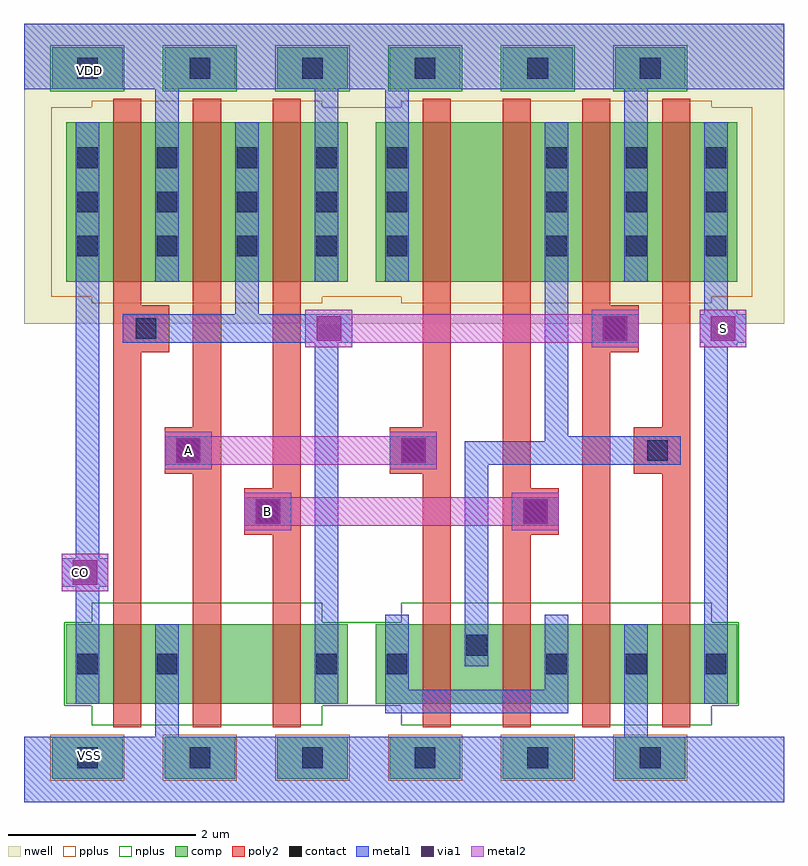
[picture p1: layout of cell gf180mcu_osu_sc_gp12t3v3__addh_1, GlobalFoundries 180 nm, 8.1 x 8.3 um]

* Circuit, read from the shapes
.subckt gf180mcu_osu_sc_gp12t3v3__addh_1 A B CO S VDD VSS
XM1 VSS n1 CO VSS nfet_03v3 w=0.85u l=0.3u
XM2 n2 A VSS VSS nfet_03v3 w=0.85u l=0.3u
XM3 n1 B n2 VSS nfet_03v3 w=0.85u l=0.3u
XM4 n3 A n4 VSS nfet_03v3 w=0.85u l=0.3u
XM5 n4 B n3 VSS nfet_03v3 w=0.85u l=0.3u
XM6 VSS n1 n4 VSS nfet_03v3 w=0.85u l=0.3u
XM7 S n3 VSS VSS nfet_03v3 w=0.85u l=0.3u
XM8 VDD n1 CO VDD pfet_03v3 w=1.7u l=0.3u
XM9 n1 A VDD VDD pfet_03v3 w=1.7u l=0.3u
XM10 VDD B n1 VDD pfet_03v3 w=1.7u l=0.3u
XM11 n5 A VDD VDD pfet_03v3 w=1.7u l=0.3u
XM12 n3 B n5 VDD pfet_03v3 w=1.7u l=0.3u
XM13 VDD n1 n3 VDD pfet_03v3 w=1.7u l=0.3u
XM14 S n3 VDD VDD pfet_03v3 w=1.7u l=0.3u
.ends

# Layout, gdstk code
import gdstk
lib = gdstk.Library(unit=1e-6, precision=1e-09)
def R(c, l, rs):  # rectangles x0, y0, x1, y1
    for r in rs: c.add(gdstk.rectangle(r[:2], r[2:], *l))
def A(c, l, x, y, w, h, nx, ny, dx, dy):  # array of equal rectangles
    R(c, l, [(x+i*dx, y+j*dy, x+i*dx+w, y+j*dy+h) for i in range(nx) for j in range(ny)])
nwell = (21, 0)
comp = (22, 0)
poly2 = (30, 0)
pplus = (31, 0)
nplus = (32, 0)
contact = (33, 0)
metal1 = (34, 0)
via1 = (35, 0)
metal2 = (36, 0)

gf180mcu_osu_sc_gp12t3v3 = lib.new_cell('gf180mcu_osu_sc_gp12t3v3__addh_1')
R(gf180mcu_osu_sc_gp12t3v3, nwell, [(0,5.1,8.1,8.3)])
A(gf180mcu_osu_sc_gp12t3v3, comp, 0.3, 0.25, 0.75, 0.45, 6, 2, 1.2, 7.35)
R(gf180mcu_osu_sc_gp12t3v3, comp, [(0.45,1.05,3.45,1.9), (3.75,1.05,7.6,1.9), (0.45,5.55,3.45,7.25), (3.75,5.55,7.6,7.25)])
R(gf180mcu_osu_sc_gp12t3v3, poly2, [(0.95,0.8,1.25,4.8), (1.8,0.8,2.1,3.5), (2.65,0.8,2.95,2.85), (4.25,0.8,4.55,3.5), (5.1,0.8,5.4,2.85), (5.95,0.8,6.25,4.8), (6.8,0.8,7.1,3.5), (2.35,2.85,2.95,3.35), (5.1,2.85,5.7,3.35), (2.65,3.35,2.95,7.5), (5.1,3.35,5.4,7.5), (1.5,3.5,2.1,4), (3.9,3.5,4.55,4), (6.5,3.5,7.1,4), (1.8,4,2.1,7.5), (4.25,4,4.55,7.5), (6.8,4,7.1,7.5), (0.95,4.8,1.55,5.3), (5.95,4.8,6.55,5.3), (0.95,5.3,1.25,7.5), (5.95,5.3,6.25,7.5)])
A(gf180mcu_osu_sc_gp12t3v3, pplus, 0.28, 0.23, 0.79, 0.49, 6, 1, 1.2, 0)
R(gf180mcu_osu_sc_gp12t3v3, pplus, [(0.72,5.32,3.18,5.39), (4.02,5.32,7.33,5.39), (0.29,5.39,7.76,7.41), (0.72,7.41,3.18,7.48), (4.02,7.41,7.33,7.48)])
A(gf180mcu_osu_sc_gp12t3v3, nplus, 0.28, 7.58, 0.79, 0.49, 6, 1, 1.2, 0)
R(gf180mcu_osu_sc_gp12t3v3, nplus, [(0.72,0.82,3.18,1.03), (4.02,0.82,7.33,1.03), (0.43,1.03,7.62,1.92), (0.72,1.92,3.18,2.13), (4.02,1.92,7.33,2.13)])
A(gf180mcu_osu_sc_gp12t3v3, contact, 0.565, 0.365, 0.22, 0.22, 6, 2, 1.2, 7.35)
A(gf180mcu_osu_sc_gp12t3v3, contact, 5.565, 1.365, 0.22, 0.22, 3, 2, 0.85, 4.455)
A(gf180mcu_osu_sc_gp12t3v3, contact, 0.565, 5.82, 0.22, 0.22, 4, 3, 0.85, 0.47)
A(gf180mcu_osu_sc_gp12t3v3, contact, 3.865, 5.82, 0.22, 0.22, 1, 3, 0, 0.47)
A(gf180mcu_osu_sc_gp12t3v3, contact, 5.565, 6.29, 0.22, 0.22, 3, 2, 0.85, 0.47)
R(gf180mcu_osu_sc_gp12t3v3, contact, [(0.565,1.365,0.785,1.585), (1.415,1.365,1.635,1.585), (3.115,1.365,3.335,1.585), (3.865,1.365,4.085,1.585), (4.715,1.565,4.935,1.785), (2.49,2.99,2.71,3.21), (5.34,2.99,5.56,3.21), (1.64,3.64,1.86,3.86), (4.04,3.64,4.26,3.86), (6.64,3.64,6.86,3.86), (1.19,4.94,1.41,5.16), (6.19,4.94,6.41,5.16)])
R(gf180mcu_osu_sc_gp12t3v3, metal1, [(0,0,8.1,0.7), (1.4,0.7,1.65,1.9), (6.4,0.7,6.65,1.9), (3.85,0.95,5.8,1.2), (0.55,1.05,0.8,2.3), (3.1,1.05,3.35,4.9), (7.25,1.05,7.5,4.85), (3.85,1.2,4.1,2), (5.55,1.2,5.8,2), (4.7,1.45,4.95,3.6), (0.4,2.3,0.9,2.6), (0.55,2.6,0.8,7.25), (2.35,2.95,2.85,3.25), (5.2,2.95,5.7,3.25), (1.5,3.6,2,3.9), (3.9,3.6,4.4,3.9), (4.7,3.6,7,3.85), (5.55,3.85,7,3.9), (5.55,3.9,5.8,7.25), (7.25,4.85,7.6,4.9), (1.05,4.9,3.5,5.2), (6.05,4.9,6.55,5.2), (7.2,4.9,7.7,5.2), (2.25,5.2,2.5,7.25), (7.25,5.2,7.6,5.25), (7.25,5.25,7.5,7.25), (1.4,5.55,1.65,7.6), (3.1,5.55,3.35,7.6), (3.85,5.55,4.1,7.6), (6.4,5.55,6.65,7.6), (0,7.6,8.1,8.3)])
R(gf180mcu_osu_sc_gp12t3v3, via1, [(0.52,2.32,0.78,2.58), (2.47,2.97,2.73,3.23), (5.32,2.97,5.58,3.23), (1.62,3.62,1.88,3.88), (4.02,3.62,4.28,3.88), (3.12,4.92,3.38,5.18), (6.17,4.92,6.43,5.18), (7.32,4.92,7.58,5.18)])
R(gf180mcu_osu_sc_gp12t3v3, metal2, [(0.4,2.25,0.9,2.65), (2.35,2.9,2.85,2.95), (5.2,2.9,5.7,2.95), (2.35,2.95,5.7,3.25), (2.35,3.25,2.85,3.3), (5.2,3.25,5.7,3.3), (1.5,3.55,2,3.6), (3.9,3.55,4.4,3.6), (1.5,3.6,4.4,3.9), (1.5,3.9,2,3.95), (3.9,3.9,4.4,3.95), (3,4.85,3.5,4.9), (6.05,4.85,6.55,4.9), (7.2,4.85,7.7,5.25), (3,4.9,6.55,5.2), (3,5.2,3.5,5.25), (6.05,5.2,6.55,5.25)])
gf180mcu_osu_sc_gp12t3v3.add(gdstk.Label('A', (1.75,3.75), layer=36, texttype=10))
gf180mcu_osu_sc_gp12t3v3.add(gdstk.Label('B', (2.6,3.1), layer=36, texttype=10))
gf180mcu_osu_sc_gp12t3v3.add(gdstk.Label('S', (7.45,5.05), layer=36, texttype=10))
gf180mcu_osu_sc_gp12t3v3.add(gdstk.Label('CO', (0.6,2.45), layer=36, texttype=10))
gf180mcu_osu_sc_gp12t3v3.add(gdstk.Label('VDD', (0.7,7.8), layer=34, texttype=10))
gf180mcu_osu_sc_gp12t3v3.add(gdstk.Label('VSS', (0.7,0.5), layer=34, texttype=10))

lib.write_gds('gf180mcu_osu_sc_gp12t3v3__addh_1.gds')
